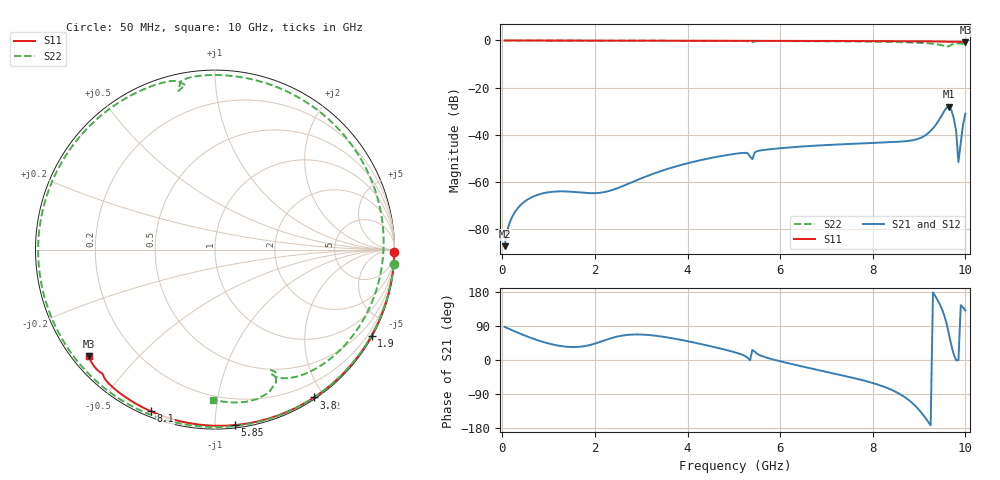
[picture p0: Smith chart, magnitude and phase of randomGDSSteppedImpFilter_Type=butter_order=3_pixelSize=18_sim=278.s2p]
! freq	dB(S11)	phase(S11)	dB(S12)	phase(S12)
!  dB(S21)	phase(S21)	dB(S22)	phase(S22)
!S-par simulation data
#  GHz  S  DB  R 50
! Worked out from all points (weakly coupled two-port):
!   200 points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, 50 MHz to 10 GHz, reference 50 ohm
!   highest |S21| = -28.10 dB at 9.65 GHz (marker M1); lowest = -87.1 dB at 50 MHz (marker M2)
!   lowest |S11| = -0.7 dB at 10 GHz (marker M3), VSWR 24.37, Z = 2.32 - j18.2 ohm
!   |S11| at or under -10 dB: nowhere
!   |S22| runs from -2.6 to 0.0 dB; largest |S21 - S12| = 0
!   S11 on the Smith chart (normalised r, x): 50 MHz: open; 1.9 GHz: 0.03, -3.90; 3.8 GHz: 0.02, -1.87; 5.85 GHz: 0.02, -1.12; 8.1 GHz: 0.02, -0.68; 10 GHz: 0.05, -0.36
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0.05  -0.00 -0.8  -87.14 87.3  -87.14 87.3  -0.00 -4.8
0.4  -0.01 -6.1  -69.64 68.8  -69.64 68.8  -0.05 -36.9
0.8  -0.02 -12.2  -65.15 50.7  -65.15 50.7  -0.08 -70.0
1.2  -0.02 -18.3  -63.95 38.2  -63.95 38.2  -0.10 -98.1
1.75  -0.03 -26.6  -64.52 36.1  -64.52 36.1  -0.11 -129.2
1.9  -0.04 -28.8  -64.69 39.8  -64.69 39.8  -0.11 -136.6
2.6  -0.05 -39.1  -61.70 64.7  -61.70 64.7  -0.12 -166.2
3.4  -0.07 -50.6  -55.50 62.6  -55.50 62.6  -0.14 165.4
3.8  -0.08 -56.2  -53.07 54.5  -53.07 54.5  -0.15 152.3
5.05  -0.11 -73.2  -47.96 19.4  -47.96 19.4  -0.20 112.0
5.4  -0.12 -77.8  -50.27 26.7  -50.27 26.7  -0.85 103.0
5.5  -0.13 -79.1  -46.91 16.6  -46.91 16.6  -0.29 99.3
5.85  -0.14 -83.6  -45.94 1.3  -45.94 1.3  -0.24 86.5
6.7  -0.18 -94.4  -44.63 -23.2  -44.63 -23.2  -0.30 56.3
8.1  -0.27 -111.7  -43.32 -64.6  -43.32 -64.6  -0.54 1.3
8.35  -0.29 -114.8  -43.10 -75.7  -43.10 -75.7  -0.62 -9.4
9.1  -0.37 -124.4  -40.61 -146.7  -40.61 -146.7  -1.08 -44.2
9.65  -0.60 -132.1  -28.10 65.2  -28.10 65.2  -2.38 -63.7
9.8  -0.56 -134.5  -38.39 -0.7  -38.39 -0.7  -1.26 -74.2
9.85  -0.57 -135.6  -51.55 -0.4  -51.55 -0.4  -1.26 -78.7
9.95  -0.64 -138.3  -35.54 138.9  -35.54 138.9  -1.42 -86.8
10  -0.71 -139.9  -30.99 130.8  -30.99 130.8  -1.55 -90.7
